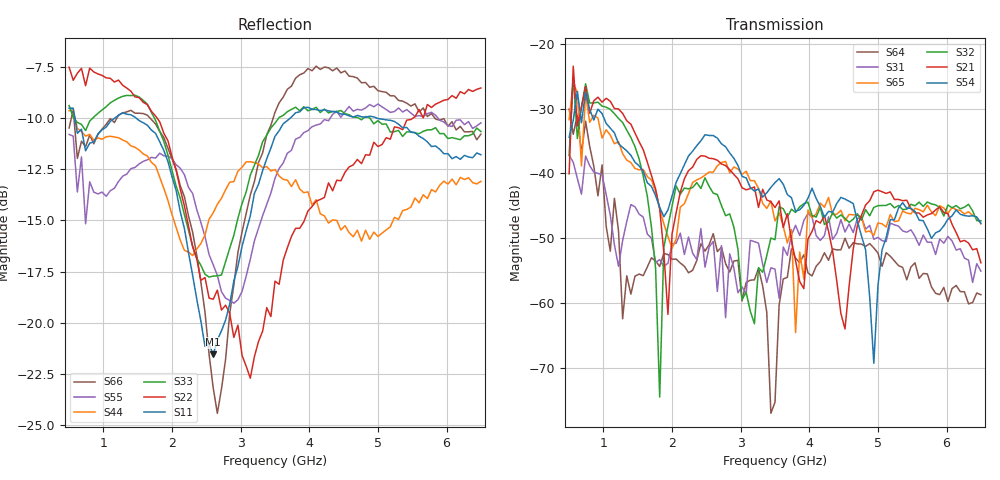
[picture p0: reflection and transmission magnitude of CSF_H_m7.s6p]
!Keysight Technologies,M9804A,MY58100912,A.14.10.03
!Date: Thursday, April 27, 2023 10:28:33
!Correction: S11(C  6-Port  )
!S12(C  6-Port  )
!S13(C  6-Port  )
!S14(C  6-Port  )
!S15(C  6-Port  )
!S16(C  6-Port  )
!S21(C  6-Port  )
!S22(C  6-Port  )
!S23(C  6-Port  )
!S24(C  6-Port  )
!S25(C  6-Port  )
!S26(C  6-Port  )
!S31(C  6-Port  )
!S32(C  6-Port  )
!S33(C  6-Port  )
!S34(C  6-Port  )
!S35(C  6-Port  )
!S36(C  6-Port  )
!S41(C  6-Port  )
!S42(C  6-Port  )
!S43(C  6-Port  )
!S44(C  6-Port  )
!S45(C  6-Port  )
!S46(C  6-Port  )
!S51(C  6-Port  )
!S52(C  6-Port  )
!S53(C  6-Port  )
!S54(C  6-Port  )
!S55(C  6-Port  )
!S56(C  6-Port  )
!S61(C  6-Port  )
!S62(C  6-Port  )
!S63(C  6-Port  )
!S64(C  6-Port  )
!S65(C  6-Port  )
!S66(C  6-Port  )
!S6P File: Measurement: :
# Hz S  RI  R 50
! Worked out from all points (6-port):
!   101 points, 500 MHz to 6.5 GHz, reference 50 ohm
!   strongest paths, dB at 500 MHz, 2 GHz, 3.5 GHz, 5 GHz, 6.5 GHz:
!     S54: -34.4, -43.5, -41.4, -57.3, -47.7
!     S21: -40.0, -49.3, -45.3, -42.6, -53.8
!     S32: -37.2, -45.0, -50.2, -45.0, -47.3
!     S65: -31.7, -51.5, -47.3, -47.6, -47.8
!     S31: -37.2, -50.9, -54.8, -49.9, -55.1
!     S64: -30.1, -53.3, -75.3, -52.3, -58.7
!   lowest |S11| = -21.6 dB at 2.6 GHz (marker M1), VSWR 1.18, Z = 42.5 + j1.94 ohm
!   |S11| at or under -10 dB: 583.9 MHz to 1.162 GHz (577.6 MHz wide, 66.2 % of centre); 1.48 GHz to 3.72 GHz (2.24 GHz wide, 86.2 % of centre); 4.989 GHz to end of sweep
